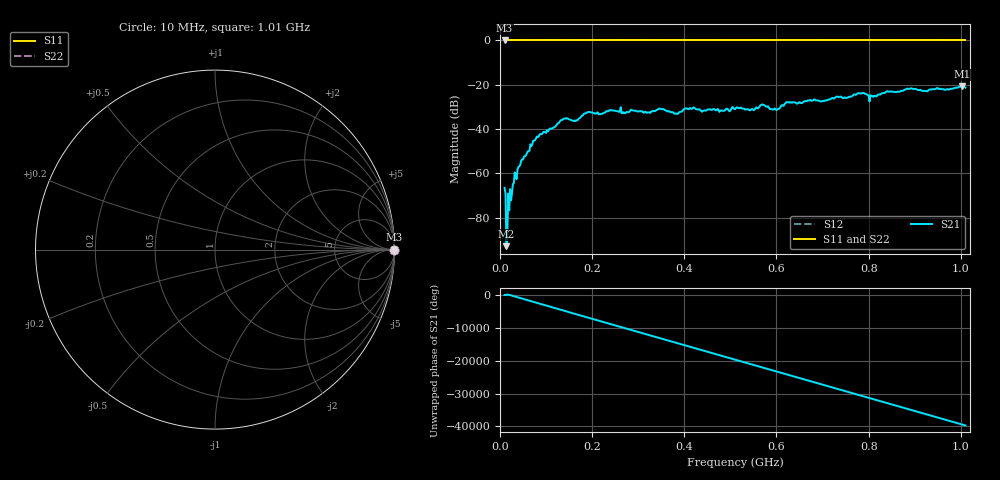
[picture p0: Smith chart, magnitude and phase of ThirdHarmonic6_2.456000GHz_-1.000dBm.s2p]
! 8/17/2025 4:25:24 AM
! C:\ANRITSUVNA\TEMP\TEMP.S2P
! CHANNEL.1
! TR.MEASUREMENT
! RAW.DATA
! RF.CORRECTION.OFF
! AVERAGING.OFF
! IF.BANDWIDTH: 5KHZ
! SWEEPTYPE:  FREQ.SWEEP(Linear)
! Reference Plane Port Info
! PORT:  PORT1  PORT2
! DISTANCE:  0  m  0  m
! TIME:  0  s  0  s
! PHASE.OFFSET:  0  deg.  0  deg.
! LOSS:  0  dB  0  dB
! REF.LOSS:  0  dB  0  dB
! REF.FREQ:  0  Hz  0  Hz
! Power Info
! POWER:  -20  dBm  -20  dBm
! EFF.POWER:  -20  dBm  -20  dBm
! SOURCE.ATTEN:  0  dB  0  dB
! TEST.ATTEN:  0  dB  0  dB
# GHZ S RI R 50.0
! FREQ.GHZ  S11RE  S11IM  S21RE  S21IM  S12RE  S12IM  S22RE  S22IM
!; PortSelection: Port_12
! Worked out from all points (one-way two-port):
!   501 points, 10 MHz to 1.01 GHz, reference 50 ohm
!   highest |S21| = -20.67 dB at 1.002 GHz (marker M1); lowest = -92.9 dB at 14 MHz (marker M2)
!   lowest |S11| = 0.0 dB at 10 MHz (marker M3)
!   |S11| at or under -10 dB: nowhere
!   |S22| runs from 0.0 to 0.0 dB; largest |S21 - S12| = 1.1
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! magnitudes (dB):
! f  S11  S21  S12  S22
! 10 MHz  0.0  -66.6  0.0  0.0
! 14 MHz  0.0  -92.9  0.0  0.0
! 18 MHz  0.0  -69.2  0.0  0.0
! 30 MHz  0.0  -64.5  0.0  0.0
! 42 MHz  0.0  -56.8  0.0  0.0
! 76 MHz  0.0  -45.1  0.0  0.0
! 136 MHz  0.0  -35.8  0.0  0.0
! 164 MHz  0.0  -36.4  0.0  0.0
! 178 MHz  0.0  -34.0  0.0  0.0
! 344 MHz  0.0  -31.0  0.0  0.0
! 382 MHz  0.0  -33.0  0.0  0.0
! 402 MHz  0.0  -30.8  0.0  0.0
! 510 MHz  0.0  -31.1  0.0  0.0
! 570 MHz  0.0  -29.0  0.0  0.0
! 602 MHz  0.0  -31.1  0.0  0.0
! 622 MHz  0.0  -27.8  0.0  0.0
! 678 MHz  0.0  -27.1  0.0  0.0
! 782 MHz  0.0  -23.9  0.0  0.0
! 806 MHz  0.0  -24.9  0.0  0.0
! 844 MHz  0.0  -23.2  0.0  0.0
! 1.002 GHz  0.0  -20.7  0.0  0.0
! 1.01 GHz  0.0  -21.3  0.0  0.0
